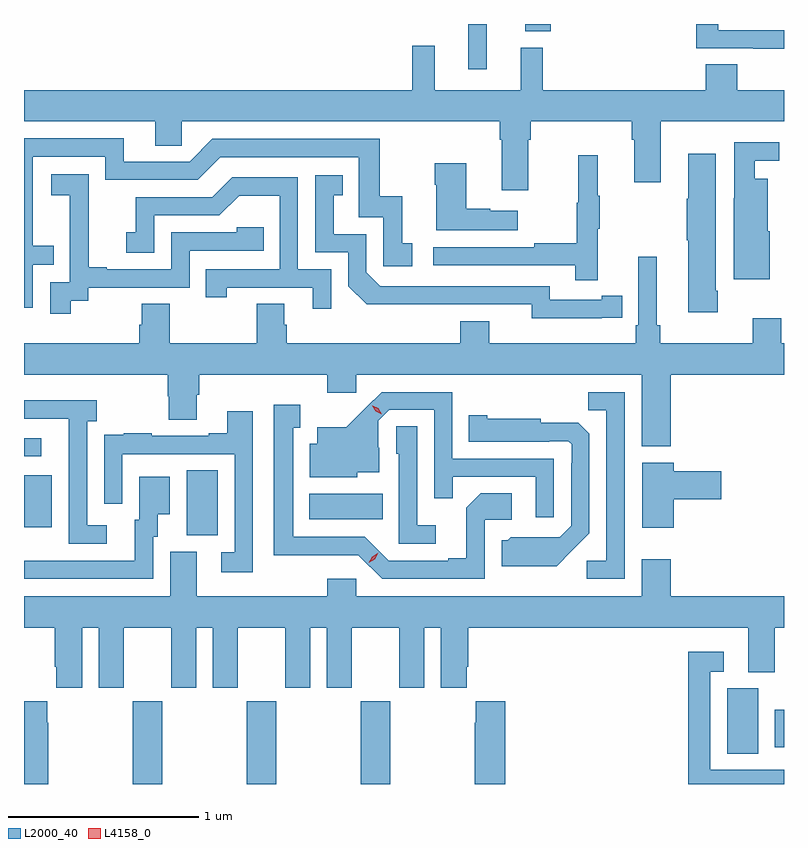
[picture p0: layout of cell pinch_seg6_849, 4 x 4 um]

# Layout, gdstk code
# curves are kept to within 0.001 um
import gdstk
lib = gdstk.Library(unit=1e-6, precision=1e-09)
def R(c, l, rs):  # rectangles x0, y0, x1, y1
    for r in rs: c.add(gdstk.rectangle(r[:2], r[2:], *l))
def A(c, l, x, y, w, h, nx, ny, dx, dy):  # array of equal rectangles
    R(c, l, [(x+i*dx, y+j*dy, x+i*dx+w, y+j*dy+h) for i in range(nx) for j in range(ny)])
def P(c, l, *ps):  # polygons
    for p in ps: c.add(gdstk.Polygon(p, *l))
L2000_40 = (2000, 40)
L4158_0 = (4158, 0)

pinch_seg6_849 = lib.new_cell('pinch_seg6_849')
A(pinch_seg6_849, L2000_40, 135.109, 917.209, 0.155, 0.435, 3, 1, 0.6, 0)
R(pinch_seg6_849, L2000_40, [(138.236,917.368,138.4,917.712), (138.488,917.403,138.536,917.599), (135.392,918.517,135.556,918.86), (134.536,918.561,134.683,918.835), (136.037,918.602,136.424,918.736), (134.536,918.933,134.626,919.029), (136.874,920.97,136.971,921.209), (137.174,921.17,137.309,921.209)])
P(pinch_seg6_849, L2000_40, [(138.536,921.177),(138.189,921.177),(138.189,921.209),(138.073,921.209),(138.073,921.081),(138.373,921.081),(138.373,921.079),(138.536,921.079)],
  [(137.735,920.6),(137.747,920.6),(137.747,920.376),(137.887,920.376),(137.887,920.696),(138.536,920.696),(138.536,920.86),(138.29,920.86),(138.29,920.996),(138.125,920.996),(138.125,920.86),(137.267,920.86),(137.267,921.085),(137.15,921.085),(137.15,920.86),(136.697,920.86),(136.697,921.094),(136.579,921.094),(136.579,920.86),(134.536,920.86),(134.536,920.696),(135.227,920.696),(135.227,920.569),(135.366,920.569),(135.366,920.696),(137.039,920.696),(137.039,920.6),(137.051,920.6),(137.051,920.334),(137.191,920.334),(137.191,920.6),(137.204,920.6),(137.204,920.696),(137.735,920.696)],
  [(134.583,919.941),(134.693,919.941),(134.693,920.042),(134.583,920.042),(134.583,920.511),(134.964,920.511),(134.964,920.388),(135.45,920.388),(135.57,920.508),(136.299,920.508),(136.299,920.193),(136.428,920.193),(136.428,919.935),(136.579,919.935),(136.579,920.055),(136.526,920.055),(136.526,920.302),(136.408,920.302),(136.408,920.604),(135.528,920.604),(135.408,920.484),(135.061,920.484),(135.061,920.607),(134.536,920.607),(134.536,919.716),(134.583,919.716)],
  [(138.46,920.118),(138.451,920.118),(138.451,920.395),(138.382,920.395),(138.382,920.49),(138.511,920.49),(138.511,920.586),(138.273,920.586),(138.273,920.291),(138.272,920.291),(138.272,919.865),(138.46,919.865)],
  [(138.186,919.804),(138.178,919.804),(138.178,920.527),(138.032,920.527),(138.032,920.288),(138.025,920.288),(138.025,920.071),(138.032,920.071),(138.032,919.692),(138.186,919.692)],
  [(137.555,920.131),(137.566,920.131),(137.566,920.305),(137.555,920.305),(137.555,920.518),(137.452,920.518),(137.452,920.268),(137.445,920.268),(137.445,920.054),(137.221,920.054),(137.221,920.034),(136.689,920.034),(136.689,919.938),(137.437,919.938),(137.437,919.86),(137.555,919.86)],
  [(137.134,920.227),(136.991,920.227),(136.991,920.237),(136.864,920.237),(136.864,920.476),(136.699,920.476),(136.699,920.363),(136.706,920.363),(136.706,920.123),(137.134,920.123)],
  [(134.782,919.753),(134.874,919.753),(134.874,919.821),(135.408,919.821),(135.408,920.016),(135.797,920.016),(135.797,920.139),(135.657,920.139),(135.657,920.112),(135.312,920.112),(135.312,919.917),(134.971,919.917),(134.971,919.93),(134.876,919.93),(134.876,920.213),(134.877,920.213),(134.877,920.419),(134.679,920.419),(134.679,920.309),(134.777,920.309),(134.777,920.081),(134.778,920.081),(134.778,919.851),(134.673,919.851),(134.673,919.683),(134.782,919.683)],
  [(137.576,919.662),(137.684,919.662),(137.684,919.778),(137.576,919.778),(137.576,919.758),(137.304,919.758),(137.304,919.83),(136.41,919.83),(136.338,919.902),(136.338,920.103),(136.165,920.103),(136.165,920.307),(136.214,920.307),(136.214,920.413),(136.068,920.413),(136.068,920.007),(136.242,920.007),(136.242,919.83),(136.34,919.733),(137.208,919.734),(137.208,919.661)],
  [(136.152,919.917),(135.978,919.917),(135.978,920.403),(135.632,920.403),(135.527,920.298),(135.124,920.298),(135.124,920.113),(135.075,920.113),(135.075,920.004),(135.222,920.004),(135.222,920.202),(135.564,920.202),(135.668,920.306),(135.882,920.306),(135.882,919.917),(135.493,919.917),(135.493,919.77),(135.604,919.77),(135.604,919.821),(136.055,919.821),(136.055,919.71),(136.152,919.71)],
  [(137.939,919.364),(138.536,919.364),(138.536,919.528),(138.522,919.528),(138.522,919.66),(138.371,919.66),(138.371,919.528),(137.885,919.528),(137.885,919.624),(137.866,919.624),(137.866,919.984),(137.769,919.984),(137.769,919.624),(137.756,919.624),(137.756,919.528),(136.984,919.528),(136.984,919.645),(136.832,919.645),(136.832,919.528),(135.92,919.528),(135.92,919.626),(135.907,919.626),(135.907,919.736),(135.76,919.736),(135.76,919.528),(135.303,919.528),(135.303,919.736),(135.155,919.736),(135.155,919.626),(135.143,919.626),(135.143,919.528),(134.536,919.528),(134.536,919.364),(135.293,919.364),(135.293,919.251),(135.298,919.251),(135.298,919.126),(135.445,919.126),(135.445,919.258),(135.458,919.258),(135.458,919.364),(136.133,919.364),(136.133,919.269),(136.284,919.269),(136.284,919.364),(137.786,919.364),(137.786,918.986),(137.939,918.986)],
  [(137.325,918.921),(136.791,918.921),(136.791,919.272),(136.418,919.272),(136.231,919.087),(136.079,919.087),(136.079,919),(136.04,919),(136.04,918.824),(136.29,918.824),(136.29,918.851),(136.405,918.851),(136.405,918.98),(136.401,918.98),(136.401,919.122),(136.458,919.179),(136.695,919.179),(136.695,918.712),(136.793,918.712),(136.793,918.825),(137.229,918.825),(137.229,918.612),(137.325,918.612)],
  [(137.697,919.272),(137.506,919.272),(137.506,919.177),(137.601,919.177),(137.601,918.384),(137.499,918.384),(137.499,918.288),(137.697,918.288)],
  [(134.971,918.57),(134.868,918.57),(134.868,919.118),(134.92,919.118),(134.92,919.228),(134.536,919.228),(134.536,919.131),(134.771,919.131),(134.771,918.931),(134.772,918.931),(134.772,918.474),(134.971,918.474)],
  [(136.962,918.6),(137.104,918.6),(137.104,918.74),(136.939,918.74),(136.863,918.664),(136.863,918.397),(136.769,918.397),(136.769,918.384),(136.455,918.384),(136.329,918.51),(135.952,918.51),(135.952,919.083),(135.991,919.083),(135.991,919.204),(135.851,919.204),(135.851,918.413),(136.296,918.414),(136.422,918.288),(136.962,918.288)],
  [(135.741,919.171),(135.605,919.171),(135.605,919.054),(135.509,919.054),(135.509,919.041),(135.209,919.041),(135.209,919.054),(135.061,919.054),(135.061,919.047),(134.959,919.047),(134.959,918.938),(134.958,918.938),(134.958,918.684),(135.054,918.684),(135.054,918.945),(135.645,918.945),(135.645,918.429),(135.573,918.429),(135.573,918.324),(135.741,918.324)],
  [(137.419,918.437),(137.511,918.53),(137.511,919.052),(137.452,919.111),(137.256,919.111),(137.256,919.132),(136.974,919.132),(136.974,919.15),(136.876,919.15),(136.876,919.01),(137.3,919.01),(137.3,919.014),(137.4,919.014),(137.418,918.996),(137.418,918.896),(137.415,918.896),(137.415,918.567),(137.355,918.507),(137.098,918.508),(137.082,918.492),(137.051,918.492),(137.051,918.356),(137.339,918.356)],
  [(136.702,918.571),(136.605,918.571),(136.605,919.091),(136.494,919.091),(136.494,918.948),(136.509,918.948),(136.509,918.474),(136.702,918.474)],
  [(137.956,918.707),(138.205,918.707),(138.205,918.854),(137.956,918.854),(137.956,918.901),(137.789,918.901),(137.789,918.558),(137.956,918.558)],
  [(135.216,918.51),(135.241,918.51),(135.241,918.629),(135.304,918.629),(135.304,918.826),(135.143,918.826),(135.143,918.6),(135.119,918.6),(135.119,918.384),(134.635,918.384),(134.635,918.385),(134.536,918.385),(134.536,918.288),(135.216,918.288)],
  [(135.445,918.432),(135.305,918.432),(135.305,918.196),(134.536,918.196),(134.536,918.032),(134.699,918.032),(134.699,917.827),(134.705,917.827),(134.705,917.715),(134.842,917.715),(134.842,918.032),(134.93,918.032),(134.93,917.715),(135.061,917.715),(135.061,918.032),(135.311,918.032),(135.311,917.715),(135.442,917.715),(135.442,918.032),(135.53,918.032),(135.53,917.715),(135.661,917.715),(135.661,918.032),(135.911,918.032),(135.911,917.715),(136.042,917.715),(136.042,918.032),(136.13,918.032),(136.13,917.715),(136.261,917.715),(136.261,918.032),(136.511,918.032),(136.511,917.715),(136.642,917.715),(136.642,918.032),(136.73,918.032),(136.73,917.715),(136.867,917.715),(136.867,917.827),(136.874,917.827),(136.874,918.032),(138.347,918.032),(138.347,917.797),(138.487,917.797),(138.487,918.032),(138.536,918.032),(138.536,918.196),(137.939,918.196),(137.939,918.391),(137.786,918.391),(137.786,918.196),(136.284,918.196),(136.284,918.289),(136.133,918.289),(136.133,918.196),(135.445,918.196)],
  [(138.536,917.283),(138.147,917.283),(138.147,917.799),(138.22,917.799),(138.22,917.905),(138.031,917.905),(138.031,917.209),(138.536,917.209)],
  [(134.664,917.531),(134.659,917.531),(134.659,917.644),(134.536,917.644),(134.536,917.209),(134.664,917.209)],
  [(137.069,917.644),(136.913,917.644),(136.913,917.531),(136.909,917.531),(136.909,917.209),(137.069,917.209)])
P(pinch_seg6_849, L4158_0, [(136.418,919.156),(136.387,919.171),(136.37,919.201),(136.37,919.201),(136.371,919.201),(136.401,919.186),(136.418,919.156),(136.418,919.156)],
  [(136.351,918.373),(136.351,918.373),(136.369,918.406),(136.401,918.425),(136.401,918.425),(136.401,918.425),(136.383,918.392),(136.351,918.373)])

lib.write_gds('pinch_seg6_849.gds')
